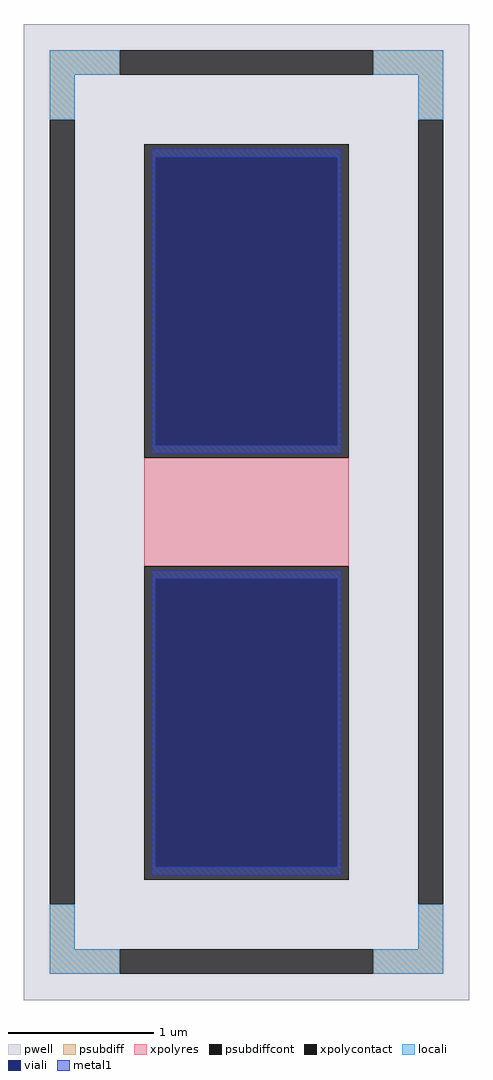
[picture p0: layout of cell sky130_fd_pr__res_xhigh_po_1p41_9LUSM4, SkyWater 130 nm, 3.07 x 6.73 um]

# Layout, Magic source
magic
tech sky130A
magscale 1 2
<< pwell >>
rect -307 -673 307 673
<< psubdiff >>
rect -271 603 -175 637
rect 175 603 271 637
rect -271 541 -237 603
rect 237 541 271 603
rect -271 -603 -237 -541
rect 237 -603 271 -541
rect -271 -637 -175 -603
rect 175 -637 271 -603
<< psubdiffcont >>
rect -175 603 175 637
rect -271 -541 -237 541
rect 237 -541 271 541
rect -175 -637 175 -603
<< xpolycontact >>
rect -141 75 141 507
rect -141 -507 141 -75
<< xpolyres >>
rect -141 -75 141 75
<< locali >>
rect -271 603 -175 637
rect 175 603 271 637
rect -271 541 -237 603
rect 237 541 271 603
rect -271 -603 -237 -541
rect 237 -603 271 -541
rect -271 -637 -175 -603
rect 175 -637 271 -603
<< viali >>
rect -125 92 125 489
rect -125 -489 125 -92
<< metal1 >>
rect -131 489 131 501
rect -131 92 -125 489
rect 125 92 131 489
rect -131 80 131 92
rect -131 -92 131 -80
rect -131 -489 -125 -92
rect 125 -489 131 -92
rect -131 -501 131 -489
<< properties >>
string FIXED_BBOX -254 -620 254 620
string gencell sky130_fd_pr__res_xhigh_po_1p41
string library sky130
string parameters w 1.410 l 0.913 m 1 nx 1 wmin 1.410 lmin 0.50 rho 2000 val 1.561k dummy 0 dw 0.0 term 188.2 sterm 0.0 caplen 0 wmax 1.410 guard 1 glc 1 grc 1 gtc 1 gbc 1 compatible {sky130_fd_pr__res_xhigh_po_0p35  sky130_fd_pr__res_xhigh_po_0p69 sky130_fd_pr__res_xhigh_po_1p41  sky130_fd_pr__res_xhigh_po_2p85 sky130_fd_pr__res_xhigh_po_5p73} snake 0 full_metal 1 n_guard 0 hv_guard 0 vias 1 viagb 0 viagt 0 viagl 0 viagr 0
<< end >>
